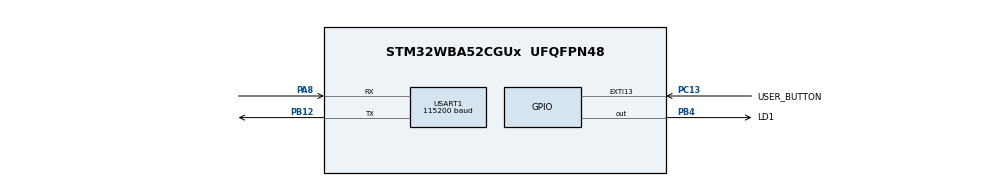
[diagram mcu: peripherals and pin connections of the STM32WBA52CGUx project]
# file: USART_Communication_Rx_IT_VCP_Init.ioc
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CORTEX_M33_NS.userName=CORTEX_M33
Mcu.Family=STM32WBA
Mcu.Name=STM32WBA52CGUx
Mcu.Package=UFQFPN48
NVIC.EXTI13_IRQn=true\:3\:0\:true\:false\:true\:true\:true\:true
NVIC.PriorityGroup=NVIC_PRIORITYGROUP_4
NVIC.USART1_IRQn=true\:0\:0\:false\:false\:true\:true\:true\:true
OSC_IN.Mode=HSE-External-Oscillator
OSC_IN.Signal=RCC_OSC_IN
OSC_OUT.Mode=HSE-External-Oscillator
OSC_OUT.Signal=RCC_OSC_OUT
PA8.GPIO_PuPd=GPIO_PULLUP
PA8.GPIO_Speed=GPIO_SPEED_FREQ_HIGH
PA8.Mode=Asynchronous
PA8.Signal=USART1_RX
PB12.GPIO_PuPd=GPIO_PULLUP
PB12.GPIO_Speed=GPIO_SPEED_FREQ_HIGH
PB12.Mode=Asynchronous
PB12.Signal=USART1_TX
PB4\ (NJTRST).GPIO_Label=LD1
PB4\ (NJTRST).GPIO_PuPd=GPIO_NOPULL
PB4\ (NJTRST).PinState=GPIO_PIN_SET
PB4\ (NJTRST).Signal=GPIO_Output
PC13.GPIO_Label=USER_BUTTON
PC13.GPIO_ModeDefaultEXTI=GPIO_MODE_IT_FALLING
PC13.GPIO_PuPd=GPIO_PULLUP
PC13.Signal=GPXTI13
ProjectManager.HeapSize=0x200
ProjectManager.StackSize=0x400
ProjectManager.TargetToolchain=EWARM V9.20
RCC.ADCFreq_Value=100000000
RCC.AHB5CLKDivider=DIV4
RCC.AHBFreq_Value=100000000
RCC.APB1Freq_Value=100000000
RCC.APB1TimFreq_Value=100000000
RCC.APB2Freq_Value=100000000
RCC.APB2TimFreq_Value=100000000
RCC.CortexFreq_Value=12500000
RCC.HCLKFreq_Value=100000000
RCC.HSE_VALUE=32000000
RCC.HSI_VALUE=16000000
RCC.LSE_VALUE=32768
RCC.PLLFRACN=0
RCC.PLLM=4
RCC.PLLN=25
RCC.PLLSourceVirtual=RCC_PLLSOURCE_HSE
RCC.SYSCLKFreq_VALUE=100000000
RCC.SYSCLKSourceVirtual=RCC_SYSCLKSOURCE_PLLCLK
RCC.VCOOutputFreq_Value=200000000
USART1.AutoBaudRateEnableParam=UART_ADVFEATURE_AUTOBAUDRATE_DISABLE
USART1.BaudRate=115200
USART1.ClockPrescaler=PRESCALER_DIV1
USART1.DMADisableonRxErrorParam=ADVFEATURE_DMA_ENABLEONRXERROR
USART1.DataInvertParam=ADVFEATURE_DATAINV_DISABLE
USART1.FIFOMode=FIFOMODE_DISABLE
USART1.MSBFirstParam=ADVFEATURE_MSBFIRST_DISABLE
USART1.Mode=MODE_TX_RX
USART1.OneBitSampling=UART_ONE_BIT_SAMPLE_DISABLE
USART1.OverSampling=UART_OVERSAMPLING_16
USART1.OverrunDisableParam=ADVFEATURE_OVERRUN_ENABLE
USART1.Parity=PARITY_NONE
USART1.RXFIFOThreshold=RXFIFO_THRESHOLD_1EIGHTHFULL
USART1.RxPinLevelInvertParam=ADVFEATURE_RXINV_DISABLE
USART1.StopBits=STOPBITS_1
USART1.SwapParam=ADVFEATURE_SWAP_DISABLE
USART1.TXFIFOThreshold=TXFIFO_THRESHOLD_1EIGHTHFULL
USART1.TxPinLevelInvertParam=ADVFEATURE_TXINV_DISABLE
USART1.VirtualMode-Asynchronous=VM_ASYNC
USART1.WordLength=WORDLENGTH_8B
VP_ICACHE_VS_ICACHE.Mode=DirectMappedCache
VP_PWR_VS_SECSignals.Mode=Security/Privilege
board=custom

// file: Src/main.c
/* USER CODE BEGIN Header */
/**
  ******************************************************************************
  * @file    Examples_LL/USART/USART_Communication_Rx_IT_VCP_Init/Src/main.c
  * @author  MCD Application Team
  * @brief   This example describes how to send bytes over USART IP using
  *          the STM32WBAxx USART LL API.
  *          Peripheral initialization done using LL initialization function.
  ******************************************************************************
  * @attention
  *
  * Copyright (c) 2022 STMicroelectronics.
  * All rights reserved.
  *
  * This software is licensed under terms that can be found in the LICENSE file
  * in the root directory of this software component.
  * If no LICENSE file comes with this software, it is provided AS-IS.
  *
  ******************************************************************************
  */
/* USER CODE END Header */
#include "main.h"

void SystemClock_Config(void);
static void MX_GPIO_Init(void);
static void MX_ICACHE_Init(void);
static void MX_USART1_UART_Init(void);
/* USER CODE BEGIN PFP */
void     LED_On(void);
void     LED_Off(void);
void     LED_Blinking(uint32_t Period);
/* USER CODE END PFP */

int main(void)
{

  /* MCU Configuration--------------------------------------------------------*/

  /* Reset of all peripherals, Initializes the Flash interface and the Systick. */

  /* System interrupt init*/
  NVIC_SetPriorityGrouping(NVIC_PRIORITYGROUP_4);

  /* Enable PWR clock interface */

  LL_AHB4_GRP1_EnableClock(LL_AHB4_GRP1_PERIPH_PWR);

  /* Configure the system clock */
  SystemClock_Config();

  /* Initialize all configured peripherals */
  MX_GPIO_Init();
  MX_ICACHE_Init();
  MX_USART1_UART_Init();
  /* USER CODE BEGIN 2 */
  /* Polling USART initialisation */
  while ((!(LL_USART_IsActiveFlag_TEACK(USART1))) || (!(LL_USART_IsActiveFlag_REACK(USART1))))
  {
  }
  /* Enable RXNE and Error interrupts */
  LL_USART_EnableIT_RXNE(USART1);
  LL_USART_EnableIT_ERROR(USART1);

  /* Set LD1 Off */
  LED_Off();

  /* USER CODE END 2 */

  /* Infinite loop */
  while (1)
  {

  }
}

void SystemClock_Config(void)
{
  LL_FLASH_SetLatency(LL_FLASH_LATENCY_3);
  while(LL_FLASH_GetLatency()!= LL_FLASH_LATENCY_3)
  {
  }

  LL_PWR_SetRegulVoltageScaling(LL_PWR_REGU_VOLTAGE_SCALE1);
  LL_RCC_HSE_Enable();

   /* Wait till HSE is ready */
  while(LL_RCC_HSE_IsReady() != 1)
  {
  }

  LL_RCC_PLL1_ConfigDomain_SYS(LL_RCC_PLL1SOURCE_HSE, 4, 25, 2);
  LL_RCC_PLL1_EnableDomain_PLL1R();
  LL_RCC_PLL1_SetVCOInputRange(LL_RCC_PLLINPUTRANGE_8_16);
  LL_RCC_PLL1_Enable();

   /* Wait till PLL is ready */
  while(LL_RCC_PLL1_IsReady() != 1)
  {
  }

  LL_RCC_SetSysClkSource(LL_RCC_SYS_CLKSOURCE_PLL1R);

   /* Wait till System clock is ready */
  while(LL_RCC_GetSysClkSource() != LL_RCC_SYS_CLKSOURCE_STATUS_PLL1R)
  {
  }

  LL_RCC_SetAHBPrescaler(LL_RCC_SYSCLK_DIV_1);
  LL_RCC_SetAHB5Prescaler(LL_RCC_AHB5_DIV_4);
  LL_RCC_SetAPB1Prescaler(LL_RCC_APB1_DIV_1);
  LL_RCC_SetAPB2Prescaler(LL_RCC_APB2_DIV_1);
  LL_RCC_SetAPB7Prescaler(LL_RCC_APB7_DIV_1);

  LL_Init1msTick(100000000);

  LL_SetSystemCoreClock(100000000);
}

static void MX_ICACHE_Init(void)
{

  /** Enable instruction cache in 1-way (direct mapped cache)
  */
  LL_ICACHE_SetMode(LL_ICACHE_1WAY);
  LL_ICACHE_Enable();

}

static void MX_USART1_UART_Init(void)
{

  LL_USART_InitTypeDef USART_InitStruct = {0};

  LL_GPIO_InitTypeDef GPIO_InitStruct = {0};

  LL_RCC_SetUSARTClockSource(LL_RCC_USART1_CLKSOURCE_PCLK2);

  /* Peripheral clock enable */
  LL_APB2_GRP1_EnableClock(LL_APB2_GRP1_PERIPH_USART1);

  LL_AHB2_GRP1_EnableClock(LL_AHB2_GRP1_PERIPH_GPIOB);
  LL_AHB2_GRP1_EnableClock(LL_AHB2_GRP1_PERIPH_GPIOA);
  /**USART1 GPIO Configuration
  PB12   ------> USART1_TX
  PA8   ------> USART1_RX
  */
  GPIO_InitStruct.Pin = LL_GPIO_PIN_12;
  GPIO_InitStruct.Mode = LL_GPIO_MODE_ALTERNATE;
  GPIO_InitStruct.Speed = LL_GPIO_SPEED_FREQ_HIGH;
  GPIO_InitStruct.OutputType = LL_GPIO_OUTPUT_PUSHPULL;
  GPIO_InitStruct.Pull = LL_GPIO_PULL_UP;
  GPIO_InitStruct.Alternate = LL_GPIO_AF_7;
  LL_GPIO_Init(GPIOB, &GPIO_InitStruct);

  GPIO_InitStruct.Pin = LL_GPIO_PIN_8;
  GPIO_InitStruct.Mode = LL_GPIO_MODE_ALTERNATE;
  GPIO_InitStruct.Speed = LL_GPIO_SPEED_FREQ_HIGH;
  GPIO_InitStruct.OutputType = LL_GPIO_OUTPUT_PUSHPULL;
  GPIO_InitStruct.Pull = LL_GPIO_PULL_UP;
  GPIO_InitStruct.Alternate = LL_GPIO_AF_7;
  LL_GPIO_Init(GPIOA, &GPIO_InitStruct);

  /* USART1 interrupt Init */
  NVIC_SetPriority(USART1_IRQn, NVIC_EncodePriority(NVIC_GetPriorityGrouping(),0, 0));
  NVIC_EnableIRQ(USART1_IRQn);

  USART_InitStruct.PrescalerValue = LL_USART_PRESCALER_DIV1;
  USART_InitStruct.BaudRate = 115200;
  USART_InitStruct.DataWidth = LL_USART_DATAWIDTH_8B;
  USART_InitStruct.StopBits = LL_USART_STOPBITS_1;
  USART_InitStruct.Parity = LL_USART_PARITY_NONE;
  USART_InitStruct.TransferDirection = LL_USART_DIRECTION_TX_RX;
  USART_InitStruct.HardwareFlowControl = LL_USART_HWCONTROL_NONE;
  USART_InitStruct.OverSampling = LL_USART_OVERSAMPLING_16;
  LL_USART_Init(USART1, &USART_InitStruct);
  LL_USART_SetTXFIFOThreshold(USART1, LL_USART_FIFOTHRESHOLD_1_8);
  LL_USART_SetRXFIFOThreshold(USART1, LL_USART_FIFOTHRESHOLD_1_8);
  LL_USART_DisableFIFO(USART1);
  LL_USART_ConfigAsyncMode(USART1);
  LL_USART_Enable(USART1);

}

static void MX_GPIO_Init(void)
{
  LL_EXTI_InitTypeDef EXTI_InitStruct = {0};
  LL_GPIO_InitTypeDef GPIO_InitStruct = {0};

  /* GPIO Ports Clock Enable */
  LL_AHB2_GRP1_EnableClock(LL_AHB2_GRP1_PERIPH_GPIOB);
  LL_AHB2_GRP1_EnableClock(LL_AHB2_GRP1_PERIPH_GPIOA);
  LL_AHB2_GRP1_EnableClock(LL_AHB2_GRP1_PERIPH_GPIOC);

  /**/
  LL_GPIO_SetOutputPin(LD1_GPIO_Port, LD1_Pin);

  /**/
  LL_EXTI_SetEXTISource(LL_EXTI_CONFIG_PORTC, LL_EXTI_CONFIG_LINE13);

  /**/
  EXTI_InitStruct.Line_0_31 = LL_EXTI_LINE_13;
  EXTI_InitStruct.LineCommand = ENABLE;
  EXTI_InitStruct.Mode = LL_EXTI_MODE_IT;
  EXTI_InitStruct.Trigger = LL_EXTI_TRIGGER_FALLING;
  LL_EXTI_Init(&EXTI_InitStruct);

  /**/
  LL_GPIO_SetPinPull(USER_BUTTON_GPIO_Port, USER_BUTTON_Pin, LL_GPIO_PULL_UP);

  /**/
  LL_GPIO_SetPinMode(USER_BUTTON_GPIO_Port, USER_BUTTON_Pin, LL_GPIO_MODE_INPUT);

  /**/
  GPIO_InitStruct.Pin = LD1_Pin;
  GPIO_InitStruct.Mode = LL_GPIO_MODE_OUTPUT;
  GPIO_InitStruct.Speed = LL_GPIO_SPEED_FREQ_LOW;
  GPIO_InitStruct.OutputType = LL_GPIO_OUTPUT_PUSHPULL;
  GPIO_InitStruct.Pull = LL_GPIO_PULL_NO;
  LL_GPIO_Init(LD1_GPIO_Port, &GPIO_InitStruct);

  /* EXTI interrupt init*/
  NVIC_SetPriority(EXTI13_IRQn, NVIC_EncodePriority(NVIC_GetPriorityGrouping(),3, 0));
  NVIC_EnableIRQ(EXTI13_IRQn);

}

/* USER CODE BEGIN 4 */

/**
  * @brief  Turn-on LD1.
  * @param  None
  * @retval None
  */
void LED_On(void)
{
  /* Turn LD1 on */
  LL_GPIO_ResetOutputPin(LD1_GPIO_Port, LD1_Pin);
}

/**
  * @brief  Turn-off LD1.
  * @param  None
  * @retval None
  */
void LED_Off(void)
{
  /* Turn LD1 off */
  LL_GPIO_SetOutputPin(LD1_GPIO_Port, LD1_Pin);
}

/**
  * @brief  Set LD1 to Blinking mode for an infinite loop (toggle period based on value provided as input parameter).
  * @param  Period : Period of time (in ms) between each toggling of LED
  *   This parameter can be user defined values. Pre-defined values used in that example are :
  *     @arg LED_BLINK_FAST : Fast Blinking
  *     @arg LED_BLINK_SLOW : Slow Blinking
  *     @arg LED_BLINK_ERROR : Error specific Blinking
  * @retval None
  */
void LED_Blinking(uint32_t Period)
{
  /* Toggle LD1 in an infinite loop */
  while (1)
  {
    LL_GPIO_TogglePin(LD1_GPIO_Port, LD1_Pin);
    LL_mDelay(Period);
  }
}

/******************************************************************************/
/*   USER IRQ HANDLER TREATMENT Functions                                     */
/******************************************************************************/
/**
  * @brief  Function to manage USER push-button
  * @param  None
  * @retval None
  */
void UserButton_Callback(void)
{
  /* Turn LD1 Off on User button press (allow to restart sequence) */
  LED_Off();
}

/**
  * @brief  Function called from USART IRQ Handler when RXNE flag is set
  *         Function is in charge of reading character received on USART RX line.
  * @param  None
  * @retval None
  */
void USART_CharReception_Callback(void)
{
  __IO uint32_t received_char;

  /* Read Received character. RXNE flag is cleared by reading of RDR register */
  received_char = LL_USART_ReceiveData8(USART1);

  /* Check if received value is corresponding to specific one : S or s */
  if ((received_char == 'S') || (received_char == 's'))
  {
    /* Turn LD1 On : Expected character has been received */
    LED_On();
  }

  /* Echo received character on TX */
  LL_USART_TransmitData8(USART1, received_char);
}

/**
  * @brief  Function called in case of error detected in USART IT Handler
  * @param  None
  * @retval None
  */
void Error_Callback(void)
{
  __IO uint32_t isr_reg;

  /* Disable USARTx_IRQn */
  NVIC_DisableIRQ(USART1_IRQn);

  /* Error handling example :
    - Read USART ISR register to identify flag that leads to IT raising
    - Perform corresponding error handling treatment according to flag
  */
  isr_reg = LL_USART_ReadReg(USART1, ISR);
  if (isr_reg & LL_USART_ISR_NE)
  {
    /* case Noise Error flag is raised : ... */
    LED_Blinking(LED_BLINK_FAST);
  }
  else
  {
    /* Unexpected IT source : Set LED to Blinking mode to indicate error occurs */
    LED_Blinking(LED_BLINK_ERROR);
  }
}

/* USER CODE END 4 */

void Error_Handler(void)
{
}
